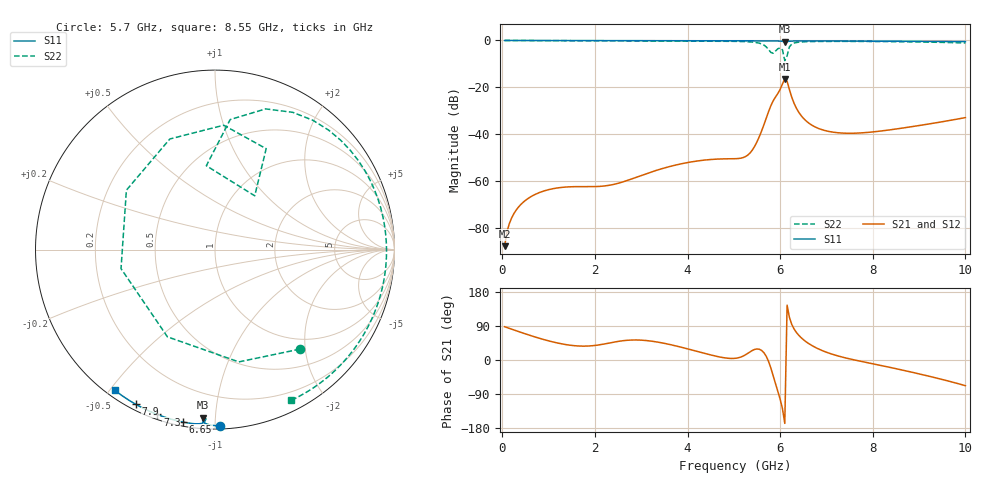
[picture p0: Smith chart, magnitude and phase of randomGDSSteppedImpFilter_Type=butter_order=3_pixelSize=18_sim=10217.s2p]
! freq	dB(S11)	phase(S11)	dB(S12)	phase(S12)
!  dB(S21)	phase(S21)	dB(S22)	phase(S22)
!S-par simulation data
#  GHz  S  DB  R 50
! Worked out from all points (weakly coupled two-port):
!   200 points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, 50 MHz to 10 GHz, reference 50 ohm
!   highest |S21| = -16.36 dB at 6.1 GHz (marker M1); lowest = -87.7 dB at 50 MHz (marker M2)
!   lowest |S11| = -0.6 dB at 6.1 GHz (marker M3), VSWR 31.41, Z = 2.97 - j46.4 ohm
!   |S11| at or under -10 dB: nowhere
!   |S22| runs from -8.6 to 0.0 dB; largest |S21 - S12| = 0
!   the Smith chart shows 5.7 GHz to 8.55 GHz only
!   S11 on the Smith chart (normalised r, x): 5.7 GHz: 0.02, -1.03; 6.65 GHz: 0.02, -0.83; 7.3 GHz: 0.02, -0.71; 7.9 GHz: 0.02, -0.61; 8.55 GHz: 0.02, -0.52
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0.05  -0.00 -0.8  -87.67 87.8  -87.67 87.8  -0.00 -3.5
0.95  -0.02 -15.8  -63.84 52.1  -63.84 52.1  -0.08 -65.0
1.75  -0.04 -28.8  -62.30 36.6  -62.30 36.6  -0.13 -115.2
2.6  -0.05 -42.3  -60.30 50.8  -60.30 50.8  -0.17 -164.1
3.4  -0.07 -54.7  -54.92 46.3  -54.92 46.3  -0.20 151.9
4.3  -0.10 -68.2  -51.13 19.7  -51.13 19.7  -0.25 101.5
5.05  -0.12 -79.1  -50.38 4.8  -50.38 4.8  -0.39 53.6
5.5  -0.14 -85.6  -43.18 29.2  -43.18 29.2  -0.95 6.3
5.7  -0.16 -88.5  -33.11 9.7  -33.11 9.7  -2.75 -49.5
5.8  -0.17 -90.0  -27.78 -21.5  -27.78 -21.5  -5.14 -118.6
5.85  -0.18 -90.8  -25.71 -42.0  -25.71 -42.0  -5.45 -168.6
5.95  -0.23 -92.4  -22.62 -83.0  -22.62 -83.0  -3.53 112.2
6.1  -0.55 -94.1  -16.36 -167.3  -16.36 -167.3  -8.57 53.6
6.15  -0.50 -93.0  -17.41 144.6  -17.41 144.6  -6.56 95.9
6.25  -0.25 -94.4  -24.17 94.1  -24.17 94.1  -1.59 70.2
6.65  -0.20 -100.6  -35.66 40.8  -35.66 40.8  -0.48 24.1
6.7  -0.20 -101.3  -36.28 37.1  -36.28 37.1  -0.45 20.5
7.3  -0.24 -109.3  -39.42 9.0  -39.42 9.0  -0.39 -12.7
7.9  -0.28 -117.1  -39.17 -7.5  -39.17 -7.5  -0.43 -38.6
8.35  -0.32 -122.9  -38.15 -18.9  -38.15 -18.9  -0.49 -55.9
8.55  -0.34 -125.4  -37.60 -24.2  -37.60 -24.2  -0.53 -63.3
10  -0.49 -143.8  -32.87 -67.8  -32.87 -67.8  -1.09 -117.7
